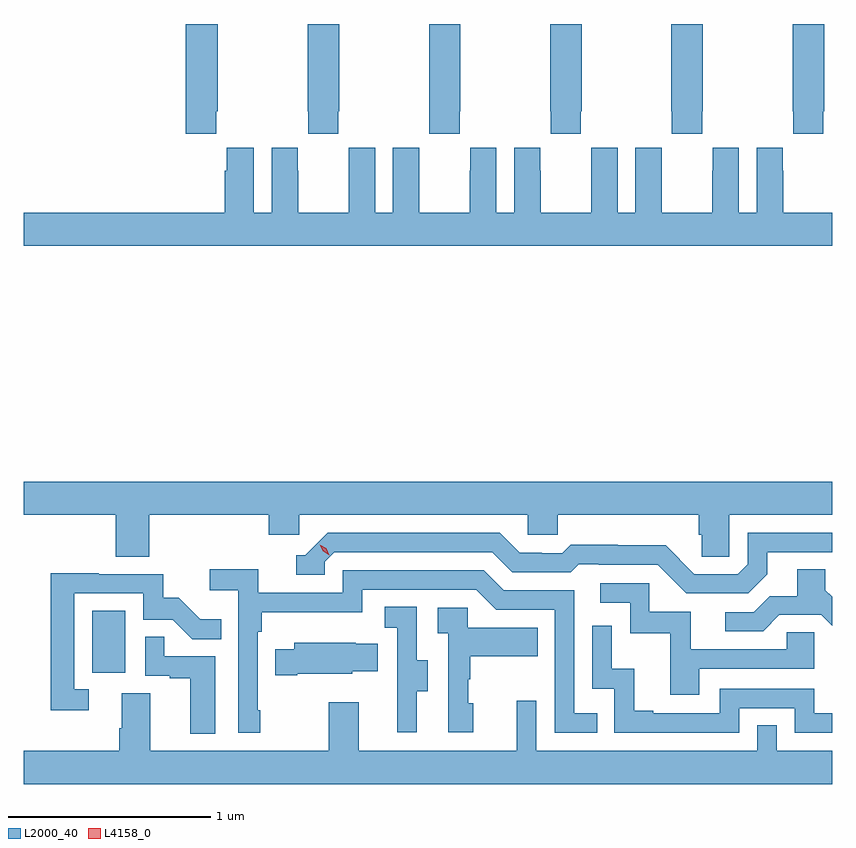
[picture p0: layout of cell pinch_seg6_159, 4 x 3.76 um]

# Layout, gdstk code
import gdstk
lib = gdstk.Library(unit=1e-6, precision=1e-09)
def R(c, l, rs):  # rectangles x0, y0, x1, y1
    for r in rs: c.add(gdstk.rectangle(r[:2], r[2:], *l))
def P(c, l, *ps):  # polygons
    for p in ps: c.add(gdstk.Polygon(p, *l))
L2000_40 = (2000, 40)
L4158_0 = (4158, 0)

pinch_seg6_159 = lib.new_cell('pinch_seg6_159')
R(pinch_seg6_159, L2000_40, [(1126.58,937.23,1126.744,937.537)])
P(pinch_seg6_159, L2000_40, [(1128.847,940.009),(1128.849,940.009),(1128.849,939.897),(1128.999,939.897),(1128.999,940.009),(1129.002,940.009),(1129.002,940.441),(1128.847,940.441)],
  [(1129.599,940.009),(1129.602,940.009),(1129.602,940.441),(1129.447,940.441),(1129.447,940.009),(1129.449,940.009),(1129.449,939.897),(1129.599,939.897)],
  [(1130.199,940.009),(1130.202,940.009),(1130.202,940.441),(1130.047,940.441),(1130.047,940.009),(1130.049,940.009),(1130.049,939.897),(1130.199,939.897)],
  [(1127.195,940.009),(1127.202,940.009),(1127.202,940.441),(1127.042,940.441),(1127.042,939.897),(1127.195,939.897)],
  [(1127.799,940.009),(1127.802,940.009),(1127.802,940.441),(1127.647,940.441),(1127.647,940.009),(1127.649,940.009),(1127.649,939.897),(1127.799,939.897)],
  [(1128.399,940.009),(1128.402,940.009),(1128.402,940.441),(1128.247,940.441),(1128.247,940.009),(1128.249,940.009),(1128.249,939.897),(1128.399,939.897)],
  [(1130.242,939.508),(1129.999,939.508),(1129.999,939.716),(1129.998,939.716),(1129.998,939.829),(1129.868,939.829),(1129.868,939.508),(1129.78,939.508),(1129.78,939.829),(1129.65,939.829),(1129.65,939.716),(1129.649,939.716),(1129.649,939.508),(1129.399,939.508),(1129.399,939.716),(1129.398,939.716),(1129.398,939.829),(1129.268,939.829),(1129.268,939.508),(1129.18,939.508),(1129.18,939.829),(1129.05,939.829),(1129.05,939.716),(1129.049,939.716),(1129.049,939.508),(1128.799,939.508),(1128.799,939.716),(1128.798,939.716),(1128.798,939.829),(1128.668,939.829),(1128.668,939.508),(1128.58,939.508),(1128.58,939.829),(1128.45,939.829),(1128.45,939.716),(1128.449,939.716),(1128.449,939.508),(1128.199,939.508),(1128.199,939.716),(1128.198,939.716),(1128.198,939.829),(1128.068,939.829),(1128.068,939.508),(1127.98,939.508),(1127.98,939.829),(1127.85,939.829),(1127.85,939.716),(1127.849,939.716),(1127.849,939.508),(1127.599,939.508),(1127.599,939.716),(1127.598,939.716),(1127.598,939.829),(1127.468,939.829),(1127.468,939.508),(1127.38,939.508),(1127.38,939.829),(1127.246,939.829),(1127.246,939.716),(1127.237,939.716),(1127.237,939.508),(1126.242,939.508),(1126.242,939.344),(1130.242,939.344)],
  [(1126.862,938.012),(1127.453,938.012),(1127.453,937.914),(1127.604,937.914),(1127.604,938.012),(1128.735,938.012),(1128.735,937.914),(1128.885,937.914),(1128.885,938.012),(1129.583,938.012),(1129.583,937.914),(1129.597,937.914),(1129.597,937.804),(1129.734,937.804),(1129.734,938.012),(1130.242,938.012),(1130.242,938.176),(1126.242,938.176),(1126.242,938.012),(1126.697,938.012),(1126.697,937.804),(1126.862,937.804)],
  [(1129.921,937.717),(1129.921,937.827),(1130.242,937.827),(1130.242,937.923),(1129.824,937.923),(1129.824,937.767),(1129.776,937.719),(1129.56,937.719),(1129.418,937.861),(1129.182,937.861),(1129.182,937.864),(1128.949,937.864),(1128.907,937.821),(1128.804,937.821),(1128.804,937.824),(1128.697,937.824),(1128.598,937.923),(1127.745,937.923),(1127.634,937.812),(1127.591,937.812),(1127.591,937.716),(1127.73,937.716),(1127.73,937.779),(1127.778,937.827),(1128.561,937.827),(1128.66,937.728),(1128.949,937.728),(1128.988,937.767),(1129.087,937.767),(1129.087,937.764),(1129.38,937.764),(1129.521,937.623),(1129.827,937.623)],
  [(1129.981,937.518),(1130.187,937.518),(1130.242,937.463),(1130.242,937.607),(1130.209,937.64),(1130.209,937.742),(1130.069,937.742),(1130.069,937.61),(1129.934,937.61),(1129.854,937.53),(1129.713,937.53),(1129.713,937.437),(1129.9,937.437)],
  [(1127.413,937.045),(1127.4,937.045),(1127.4,937.433),(1127.42,937.433),(1127.42,937.529),(1127.916,937.529),(1127.916,937.641),(1128.48,937.641),(1128.579,937.542),(1128.87,937.542),(1128.87,936.933),(1129.079,936.933),(1129.079,937.029),(1128.966,937.029),(1128.966,937.638),(1128.616,937.638),(1128.517,937.737),(1127.82,937.737),(1127.82,937.626),(1127.402,937.626),(1127.402,937.742),(1127.163,937.742),(1127.163,937.64),(1127.304,937.64),(1127.304,936.933),(1127.413,936.933)],
  [(1126.564,937.149),(1126.491,937.149),(1126.491,937.623),(1126.833,937.623),(1126.833,937.494),(1126.978,937.494),(1127.076,937.396),(1127.219,937.396),(1127.219,937.495),(1127.115,937.495),(1127.008,937.602),(1126.932,937.602),(1126.932,937.719),(1126.613,937.719),(1126.613,937.724),(1126.375,937.724),(1126.375,937.044),(1126.564,937.044)],
  [(1129.585,937.251),(1130.154,937.251),(1130.154,937.431),(1130.017,937.431),(1130.017,937.347),(1129.543,937.347),(1129.543,937.533),(1129.338,937.533),(1129.338,937.674),(1129.095,937.674),(1129.095,937.578),(1129.242,937.578),(1129.242,937.425),(1129.441,937.425),(1129.441,937.122),(1129.585,937.122)],
  [(1128.187,937.138),(1128.241,937.138),(1128.241,937.293),(1128.186,937.293),(1128.186,937.556),(1128.027,937.556),(1128.027,937.453),(1128.09,937.453),(1128.09,937.149),(1128.089,937.149),(1128.089,936.936),(1128.187,936.936)],
  [(1128.466,937.08),(1128.441,937.08),(1128.441,937.199),(1128.451,937.199),(1128.451,937.313),(1128.785,937.313),(1128.785,937.453),(1128.438,937.453),(1128.438,937.551),(1128.291,937.551),(1128.291,937.427),(1128.342,937.427),(1128.342,936.936),(1128.466,936.936)],
  [(1129.782,937.056),(1130.058,937.056),(1130.058,936.933),(1130.242,936.933),(1130.242,937.029),(1130.154,937.029),(1130.154,937.152),(1129.686,937.152),(1129.686,937.029),(1129.357,937.029),(1129.357,937.042),(1129.262,937.042),(1129.262,937.25),(1129.152,937.25),(1129.152,937.462),(1129.056,937.462),(1129.056,937.152),(1129.164,937.152),(1129.164,936.933),(1129.782,936.933)],
  [(1127.188,937.311),(1126.937,937.311),(1126.937,937.409),(1126.842,937.409),(1126.842,937.215),(1126.963,937.215),(1126.963,937.203),(1127.066,937.203),(1127.066,936.929),(1127.188,936.929)],
  [(1127.596,937.226),(1127.868,937.226),(1127.868,937.238),(1127.993,937.238),(1127.993,937.375),(1127.885,937.375),(1127.885,937.378),(1127.579,937.378),(1127.579,937.348),(1127.485,937.348),(1127.485,937.219),(1127.596,937.219)],
  [(1130.242,936.844),(1129.968,936.844),(1129.968,936.971),(1129.872,936.971),(1129.872,936.844),(1128.777,936.844),(1128.777,937.093),(1128.68,937.093),(1128.68,936.844),(1127.899,936.844),(1127.899,937.084),(1127.752,937.084),(1127.752,936.844),(1126.867,936.844),(1126.867,937.13),(1126.727,937.13),(1126.727,936.956),(1126.715,936.956),(1126.715,936.844),(1126.242,936.844),(1126.242,936.68),(1130.242,936.68)])
P(pinch_seg6_159, L4158_0, [(1127.754,937.813),(1127.723,937.832),(1127.707,937.865),(1127.707,937.865),(1127.707,937.865),(1127.738,937.846),(1127.754,937.813),(1127.754,937.813)])

lib.write_gds('pinch_seg6_159.gds')
